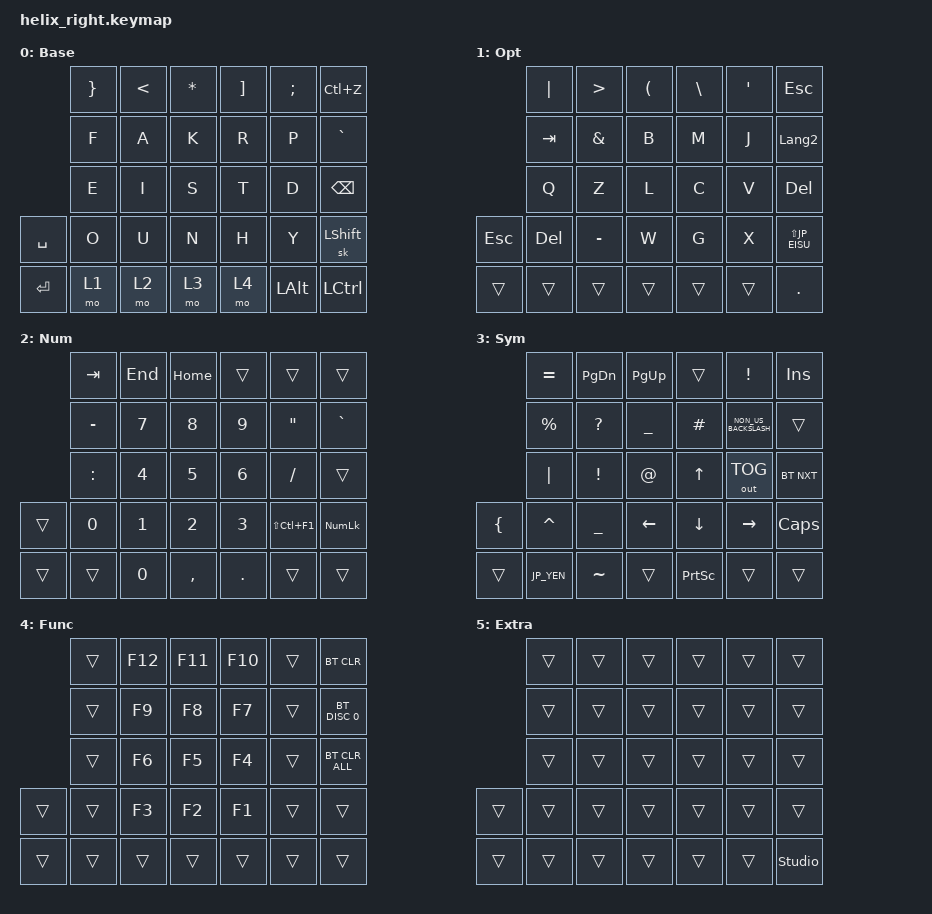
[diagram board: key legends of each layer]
// OS設定を日本語キーボードのまま使用するための変換定義
#define JP_DQUOTE       AT                // "
#define JP_AMPERSAND    CARET             // &
#define JP_QUOTE        AMPERSAND         // '
#define JP_EQUAL        UNDER             // =
#define JP_CARET        EQUAL             // ^
#define JP_YEN          0x89              // ¥
#define JP_PLUS         COLON             // +
#define JP_TILDE        PLUS              // ~
#define JP_PIPE         LS(0x89)          // |
#define JP_AT           LEFT_BRACKET      // @
#define JP_COLON        SINGLE_QUOTE      // :
#define JP_ASTERISK     DOUBLE_QUOTES     // *
#define JP_BACKQUOTE    LEFT_BRACE        // `
#define JP_UNDERSCORE   LS(0x87)          // _
#define JP_LBRACKET     RIGHT_BRACKET     // [
#define JP_RBRACKET     BACKSLASH         // ]
#define JP_LPAREN       ASTERISK          // (
#define JP_RPAREN       LEFT_PARENTHESIS  // )
#define JP_LBRACE       RIGHT_BRACE       // {
#define JP_RBRACE       PIPE              // }
#define JP_KANA         LANGUAGE_1        // かな
#define JP_EISU         LANGUAGE_2        // 英数
#define JP_HANZEN       GRAVE             // 半角/全角
#define JP_CAPS         LS(JP_EISU)       // Caps Lock

#include <behaviors.dtsi>
#include <dt-bindings/zmk/bt.h>
#include <dt-bindings/zmk/ext_power.h>
#include <dt-bindings/zmk/keys.h>
#include <dt-bindings/zmk/outputs.h>
#include <dt-bindings/zmk/rgb.h>

/ {
    keymap {
        compatible = "zmk,keymap";

        base_layer {
            display-name = "Base";
            //        ,-----------------------------------------.
            //        |   {  |   <  |   (  |   [  |   ;  |  C+z |
            //        |------+------+------+------+------+------|
            //        |   F  |   A  |   K  |   R  |   P  |全/半 |
            //        |------+------+------+------+------+------|
            //        |   E  |   I  |   S  |   T  |   D  |  BS  |
            // ,------+------+------+------+------+------+------|
            // |Space |   O  |   U  |   N  |   H  |   Y  | Shift|
            // |------+------+------+------+------+------+------|
            // | Ent  | OPT  | Num  | Sym  | Lyr4 | Alt  | Ctrl |
            // `------------------------------------------------'
            bindings = <
                  &kp JP_LBRACE &kp LT       &kp JP_LPAREN &kp JP_LBRACKET &kp SEMI   &kp LC(Z)
                  &kp F         &kp A        &kp K         &kp R           &kp P      &kp JP_HANZEN
                  &kp E         &kp I        &kp S         &kp T           &kp D      &kp BSPC
&kp SPACE         &kp O         &kp U        &kp N         &kp H           &kp Y      &sk LSHIFT
&kp RET           &mo 1         &mo 2        &mo 3         &mo 4           &kp LALT   &kp LCTRL
            >;
        };

        opt_layer {
            display-name = "Opt";
            //        ,-----------------------------------------.
            //        |   }  |   >  |   )  |   ]  |   :  |  Esc |
            //        |------+------+------+------+------+------|
            //        |  Tab |   '  |   B  |   M  |   J  | 英数 |
            //        |------+------+------+------+------+------|
            //        |   Q  |   Z  |   L  |   C  |   V  |  Del |
            // ,------+------+------+------+------+------+------|
            // | Esc  |  Del |   -  |   W  |   G  |   X  | CAPS |
            // |------+------+------+------+------+------+------|
            // |      |      |      |      |      |      |   .  |
            // `------------------------------------------------'
            bindings = <
                  &kp JP_RBRACE &kp GT       &kp JP_RPAREN &kp JP_RBRACKET &kp SINGLE_QUOTE &kp ESC
                  &kp TAB       &kp JP_QUOTE &kp B         &kp M           &kp J            &kp JP_EISU
                  &kp Q         &kp Z        &kp L         &kp C           &kp V            &kp DEL
&kp ESC           &kp DEL       &kp MINUS    &kp W         &kp G           &kp X            &kp JP_CAPS
&trans            &trans        &trans       &trans        &trans          &trans           &kp DOT
            >;
        };

        num_layer {
            display-name = "Num";
            //        ,-----------------------------------------.
            //        |  Tab |  END | HOME |      |      |      |
            //        |------+------+------+------+------+------|
            //        |   -  |   7  |   8  |   9  |   *  |   `  |
            //        |------+------+------+------+------+------|
            //        |   +  |   4  |   5  |   6  |   /  |      |
            // ,------+------+------+------+------+------+------|
            // |      |   0  |   1  |   2  |   3  |CS+F1 |NumLk |
            // |------+------+------+------+------+------+------|
            // |      |      |   0  |   ,  |   .  |      |      |
            // `------------------------------------------------'
            bindings = <
                  &kp TAB       &kp END      &kp HOME      &trans          &trans           &trans
                  &kp MINUS     &kp N7       &kp N8        &kp N9          &kp JP_ASTERISK  &kp GRAVE
                  &kp JP_PLUS   &kp NUMBER_4 &kp N5        &kp NUMBER_6    &kp SLASH        &trans
&trans            &kp N0        &kp NUMBER_1 &kp NUMBER_2  &kp NUMBER_3    &kp LS(LC(F1))   &kp KP_NUMLOCK
&trans            &trans        &kp N0       &kp COMMA     &kp PERIOD      &trans           &trans
            >;
        };

        sym_layer {
            display-name = "Sym";
            //        ,-----------------------------------------.
            //        |   ^  |  PD  |  PU  |      |   !  |  Ins |
            //        |------+------+------+------+------+------|
            //        |   %  |   ?  |   =  |   #  |   \  |      |
            //        |------+------+------+------+------+------|
            //        |   |  |   !  |   @  |   ↑  |OUT_TG|BT_NXT|
            // ,------+------+------+------+------+------+------|
            // |   {  |   &  |   _  |  <-  |   ↓  |  ->  | CAPS |
            // |------+------+------+------+------+------+------|
            // |      |   ¥  |   ~  |      |  PS  |      |      |
            // `------------------------------------------------'
            bindings = <
                  &kp JP_CARET     &kp PG_DN      &kp PAGE_UP    &trans         &kp EXCL             &kp INSERT
                  &kp PERCENT      &kp QUESTION   &kp JP_EQUAL   &kp HASH       &kp NON_US_BACKSLASH &trans
                  &kp PIPE         &kp EXCLAMATION &kp AT_SIGN   &kp UP_ARROW   &out OUT_TOG         &bt BT_NXT
&kp LBRC          &kp JP_AMPERSAND &kp UNDERSCORE &kp LEFT_ARROW &kp DOWN_ARROW &kp RIGHT_ARROW      &kp CAPS
&trans            &kp JP_YEN       &kp TILDE      &trans         &kp PRINTSCREEN &trans              &trans
            >;
        };

        func_layer {
            display-name = "Func";
            //        ,-----------------------------------------.
            //        |      | F12  | F11  | F10  |      |BT_CLR|
            //        |------+------+------+------+------+------|
            //        |      |  F9  |  F8  |  F7  |      |BTDSC0|
            //        |------+------+------+------+------+------|
            //        |      |  F6  |  F5  |  F4  |      |BTCLRA|
            // ,------+------+------+------+------+------+------|
            // |      |      |  F3  |  F2  |  F1  |      |      |
            // |------+------+------+------+------+------+------|
            // |      |      |      |      |      |      |      |
            // `------------------------------------------------'
            bindings = <
                  &trans        &kp F12      &kp F11       &kp F10         &trans           &bt BT_CLR
                  &trans        &kp F9       &kp F8        &kp F7          &trans           &bt BT_DISC 0
                  &trans        &kp F6       &kp F5        &kp F4          &trans           &bt BT_CLR_ALL
&trans            &trans        &kp F3       &kp F2        &kp F1          &trans           &trans
&trans            &trans        &trans       &trans        &trans          &trans           &trans
            >;
        };

        layer_5 {
            display-name = "Extra";
            bindings = <
                  &trans        &trans       &trans        &trans          &trans           &trans
                  &trans        &trans       &trans        &trans          &trans           &trans
                  &trans        &trans       &trans        &trans          &trans           &trans
&trans            &trans        &trans       &trans        &trans          &trans           &trans
&trans            &trans        &trans       &trans        &trans          &trans           &studio_unlock
            >;
        };
    };
};
